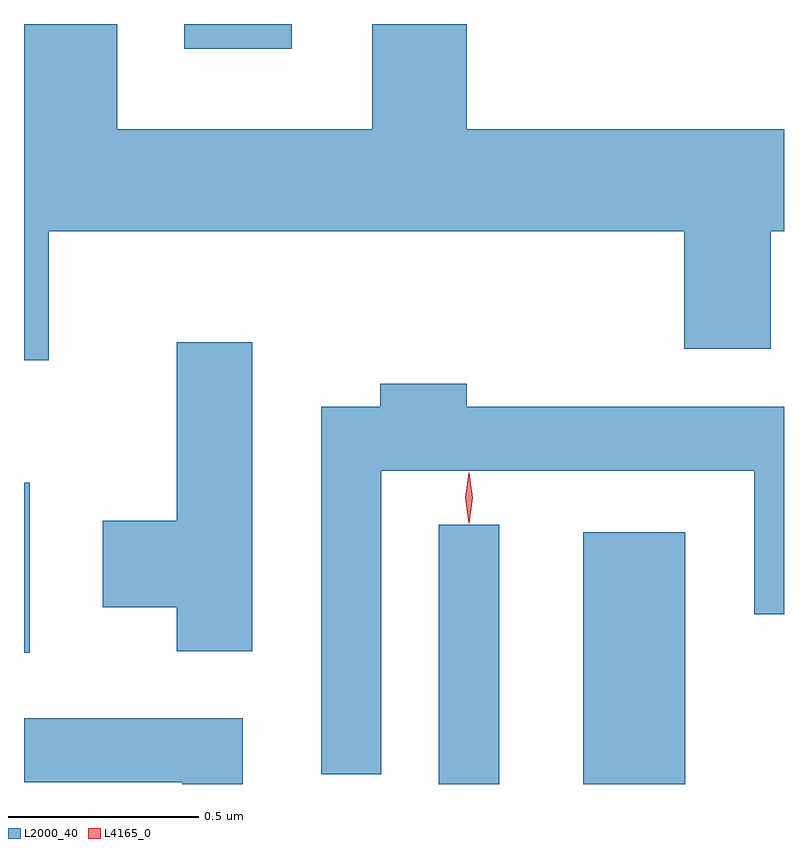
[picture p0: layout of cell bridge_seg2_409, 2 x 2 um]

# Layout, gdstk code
import gdstk
lib = gdstk.Library(unit=1e-6, precision=1e-09)
def R(c, l, rs):  # rectangles x0, y0, x1, y1
    for r in rs: c.add(gdstk.rectangle(r[:2], r[2:], *l))
def P(c, l, *ps):  # polygons
    for p in ps: c.add(gdstk.Polygon(p, *l))
L2000_40 = (2000, 40)
L4165_0 = (4165, 0)

bridge_seg2_409 = lib.new_cell('bridge_seg2_409')
R(bridge_seg2_409, L2000_40, [(632.606,1035.761,632.764,1036.443), (632.986,1035.761,633.254,1036.424), (631.514,1036.106,631.529,1036.554), (631.936,1037.696,632.219,1037.761)])
P(bridge_seg2_409, L2000_40, [(631.579,1037.216),(633.251,1037.216),(633.251,1036.906),(633.479,1036.906),(633.479,1037.216),(633.514,1037.216),(633.514,1037.484),(632.679,1037.484),(632.679,1037.761),(632.431,1037.761),(632.431,1037.484),(631.759,1037.484),(631.759,1037.761),(631.514,1037.761),(631.514,1036.876),(631.579,1036.876)],
  [(632.114,1036.924),(631.916,1036.924),(631.916,1036.454),(631.721,1036.454),(631.721,1036.226),(631.916,1036.226),(631.916,1036.111),(632.114,1036.111)],
  [(632.454,1036.586),(633.436,1036.586),(633.436,1036.208),(633.514,1036.208),(633.514,1036.754),(632.679,1036.754),(632.679,1036.814),(632.451,1036.814),(632.451,1036.754),(632.296,1036.754),(632.296,1035.787),(632.454,1035.787)],
  [(632.089,1035.934),(631.514,1035.934),(631.514,1035.766),(631.931,1035.766),(631.931,1035.761),(632.089,1035.761)])
P(bridge_seg2_409, L4165_0, [(632.685,1036.447),(632.685,1036.447),(632.675,1036.514),(632.685,1036.58),(632.685,1036.581),(632.686,1036.58),(632.695,1036.514),(632.686,1036.447)])

lib.write_gds('bridge_seg2_409.gds')
